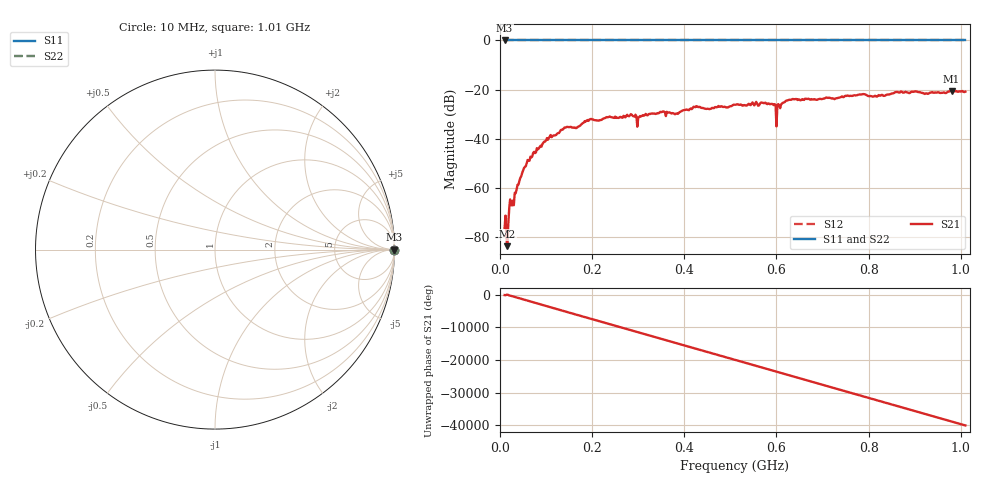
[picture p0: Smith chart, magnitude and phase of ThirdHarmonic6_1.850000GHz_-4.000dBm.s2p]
! 8/16/2025 10:22:56 PM
! C:\ANRITSUVNA\TEMP\TEMP.S2P
! CHANNEL.1
! TR.MEASUREMENT
! RAW.DATA
! RF.CORRECTION.OFF
! AVERAGING.OFF
! IF.BANDWIDTH: 5KHZ
! SWEEPTYPE:  FREQ.SWEEP(Linear)
! Reference Plane Port Info
! PORT:  PORT1  PORT2
! DISTANCE:  0  m  0  m
! TIME:  0  s  0  s
! PHASE.OFFSET:  0  deg.  0  deg.
! LOSS:  0  dB  0  dB
! REF.LOSS:  0  dB  0  dB
! REF.FREQ:  0  Hz  0  Hz
! Power Info
! POWER:  -20  dBm  -20  dBm
! EFF.POWER:  -20  dBm  -20  dBm
! SOURCE.ATTEN:  0  dB  0  dB
! TEST.ATTEN:  0  dB  0  dB
# GHZ S RI R 50.0
! FREQ.GHZ  S11RE  S11IM  S21RE  S21IM  S12RE  S12IM  S22RE  S22IM
!; PortSelection: Port_12
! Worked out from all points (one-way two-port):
!   501 points, 10 MHz to 1.01 GHz, reference 50 ohm
!   highest |S21| = -20.54 dB at 980 MHz (marker M1); lowest = -83.8 dB at 16 MHz (marker M2)
!   lowest |S11| = 0.0 dB at 10 MHz (marker M3)
!   |S11| at or under -10 dB: nowhere
!   |S22| runs from 0.0 to 0.0 dB; largest |S21 - S12| = 1.1
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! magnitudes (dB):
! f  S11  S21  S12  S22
! 10 MHz  0.0  -76.4  0.0  0.0
! 16 MHz  0.0  -83.8  0.0  0.0
! 24 MHz  0.0  -67.0  0.0  0.0
! 30 MHz  0.0  -67.1  0.0  0.0
! 50 MHz  0.0  -53.1  0.0  0.0
! 70 MHz  0.0  -47.2  0.0  0.0
! 106 MHz  0.0  -39.7  0.0  0.0
! 178 MHz  0.0  -33.9  0.0  0.0
! 198 MHz  0.0  -32.0  0.0  0.0
! 280 MHz  0.0  -30.9  0.0  0.0
! 302 MHz  0.0  -31.2  0.0  0.0
! 344 MHz  0.0  -29.7  0.0  0.0
! 510 MHz  0.0  -26.2  0.0  0.0
! 572 MHz  0.0  -25.5  0.0  0.0
! 594 MHz  0.0  -26.3  0.0  0.0
! 604 MHz  0.0  -25.9  0.0  0.0
! 606 MHz  0.0  -26.5  0.0  0.0
! 624 MHz  0.0  -24.4  0.0  0.0
! 678 MHz  0.0  -24.0  0.0  0.0
! 844 MHz  0.0  -22.0  0.0  0.0
! 980 MHz  0.0  -20.5  0.0  0.0
! 1.01 GHz  0.0  -20.8  0.0  0.0
